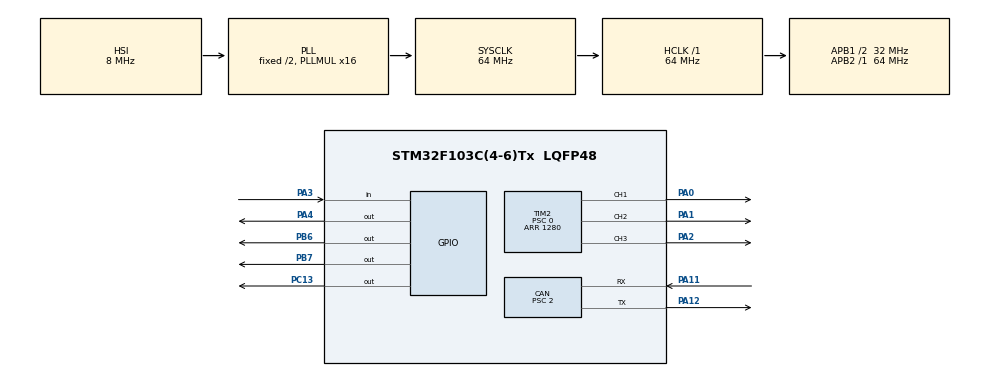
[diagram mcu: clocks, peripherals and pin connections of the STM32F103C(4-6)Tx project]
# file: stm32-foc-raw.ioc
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CAN.ABOM=ENABLE
CAN.AWUM=DISABLE
CAN.BS1=CAN_BS1_11TQ
CAN.BS2=CAN_BS2_4TQ
CAN.CalculateBaudRate=1000000
CAN.CalculateTimeQuantum=62.5
CAN.Mode=CAN_MODE_NORMAL
CAN.NART=ENABLE
CAN.Prescaler=2
CAN.RFLM=DISABLE
CAN.SJW=CAN_SJW_1TQ
CAN.TTCM=DISABLE
CAN.TXFP=DISABLE
Mcu.Family=STM32F1
Mcu.Name=STM32F103C(4-6)Tx
Mcu.Package=LQFP48
NVIC.PriorityGroup=NVIC_PRIORITYGROUP_4
NVIC.TIM1_BRK_IRQn=true\:1\:0\:true\:false\:true\:true\:true\:true
NVIC.TIM1_CC_IRQn=true\:1\:0\:true\:false\:true\:true\:true\:true
NVIC.TIM1_TRG_COM_IRQn=true\:1\:0\:true\:false\:true\:true\:true\:true
NVIC.TIM1_UP_IRQn=true\:1\:0\:true\:false\:true\:true\:true\:true
NVIC.TIM3_IRQn=true\:1\:0\:true\:false\:true\:true\:true\:true
NVIC.USB_LP_CAN1_RX0_IRQn=true\:1\:0\:true\:false\:true\:true\:true\:true
PA0-WKUP.Signal=S_TIM2_CH1_ETR
PA1.Signal=S_TIM2_CH2
PA11.Mode=CAN_Activate
PA11.Signal=CAN_RX
PA12.Mode=CAN_Activate
PA12.Signal=CAN_TX
PA13.Mode=Serial_Wire
PA13.Signal=SYS_JTMS-SWDIO
PA14.Mode=Serial_Wire
PA14.Signal=SYS_JTCK-SWCLK
PA2.Signal=S_TIM2_CH3
PA3.GPIO_PuPd=GPIO_PULLUP
PA3.Signal=GPIO_Input
PA4.Signal=GPIO_Output
PB6.GPIO_PuPd=GPIO_PULLUP
PB6.GPIO_Speed=GPIO_SPEED_FREQ_HIGH
PB6.PinState=GPIO_PIN_SET
PB6.Signal=GPIO_Output
PB7.GPIO_ModeDefaultOutputPP=GPIO_MODE_OUTPUT_OD
PB7.GPIO_PuPd=GPIO_PULLUP
PB7.GPIO_Speed=GPIO_SPEED_FREQ_HIGH
PB7.PinState=GPIO_PIN_SET
PB7.Signal=GPIO_Output
PC13-TAMPER-RTC.Signal=GPIO_Output
ProjectManager.HeapSize=0x200
ProjectManager.StackSize=0x400
ProjectManager.TargetToolchain=STM32CubeIDE
RCC.AHBFreq_Value=64000000
RCC.APB1CLKDivider=RCC_HCLK_DIV2
RCC.APB1Freq_Value=32000000
RCC.APB1TimFreq_Value=64000000
RCC.APB2Freq_Value=64000000
RCC.APB2TimFreq_Value=64000000
RCC.FLatency=FLASH_LATENCY_2
RCC.HCLKFreq_Value=64000000
RCC.PLLMUL=RCC_PLL_MUL16
RCC.SYSCLKFreq_VALUE=64000000
RCC.SYSCLKSource=RCC_SYSCLKSOURCE_PLLCLK
RCC.USBFreq_Value=64000000
SH.S_TIM2_CH1_ETR.0=TIM2_CH1,PWM Generation1 CH1
SH.S_TIM2_CH2.0=TIM2_CH2,PWM Generation2 CH2
SH.S_TIM2_CH3.0=TIM2_CH3,PWM Generation3 CH3
TIM1.AutoReloadPreload=TIM_AUTORELOAD_PRELOAD_DISABLE
TIM1.ClockDivision=TIM_CLOCKDIVISION_DIV1
TIM1.CounterMode=TIM_COUNTERMODE_UP
TIM1.Period=0
TIM1.Prescaler=64-1
TIM1.TIM_MasterOutputTrigger=TIM_TRGO_RESET
TIM1.TIM_MasterSlaveMode=TIM_MASTERSLAVEMODE_DISABLE
TIM2.AutoReloadPreload=TIM_AUTORELOAD_PRELOAD_DISABLE
TIM2.Channel-PWM\ Generation1\ CH1=TIM_CHANNEL_1
TIM2.Channel-PWM\ Generation2\ CH2=TIM_CHANNEL_2
TIM2.Channel-PWM\ Generation3\ CH3=TIM_CHANNEL_3
TIM2.ClockDivision=TIM_CLOCKDIVISION_DIV1
TIM2.CounterMode=TIM_COUNTERMODE_CENTERALIGNED1
TIM2.OC1Preload_PWM=ENABLE
TIM2.OC2Preload_PWM=ENABLE
TIM2.OC3Preload_PWM=ENABLE
TIM2.OCFastMode_PWM-PWM\ Generation1\ CH1=TIM_OCFAST_DISABLE
TIM2.OCFastMode_PWM-PWM\ Generation2\ CH2=TIM_OCFAST_DISABLE
TIM2.OCFastMode_PWM-PWM\ Generation3\ CH3=TIM_OCFAST_DISABLE
TIM2.OCMode_PWM-PWM\ Generation1\ CH1=TIM_OCMODE_PWM1
TIM2.OCMode_PWM-PWM\ Generation2\ CH2=TIM_OCMODE_PWM1
TIM2.OCMode_PWM-PWM\ Generation3\ CH3=TIM_OCMODE_PWM1
TIM2.OCPolarity_1=TIM_OCPOLARITY_HIGH
TIM2.OCPolarity_2=TIM_OCPOLARITY_HIGH
TIM2.OCPolarity_3=TIM_OCPOLARITY_HIGH
TIM2.Period=1280
TIM2.Prescaler=0
TIM2.Pulse-PWM\ Generation1\ CH1=0
TIM2.Pulse-PWM\ Generation2\ CH2=0
TIM2.Pulse-PWM\ Generation3\ CH3=0
TIM2.TIM_MasterOutputTrigger=TIM_TRGO_RESET
TIM2.TIM_MasterSlaveMode=TIM_MASTERSLAVEMODE_DISABLE
TIM3.Period=100
TIM3.Prescaler=64-1
VP_TIM1_VS_ClockSourceINT.Mode=Internal
VP_TIM2_VS_ClockSourceINT.Mode=Internal
VP_TIM3_VS_ClockSourceINT.Mode=Internal
board=custom

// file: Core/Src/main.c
/* USER CODE BEGIN Header */
/**
  ******************************************************************************
  * @file           : main.c
  * @brief          : Main program body
  ******************************************************************************
  * @attention
  *
  * <h2><center>&copy; Copyright (c) 2023 STMicroelectronics.
  * All rights reserved.</center></h2>
  *
  * This software component is licensed by ST under BSD 3-Clause license,
  * the "License"; You may not use this file except in compliance with the
  * License. You may obtain a copy of the License at:
  *                        opensource.org/licenses/BSD-3-Clause
  *
  ******************************************************************************
  */
/* USER CODE END Header */

#include "main.h"
#include "can.h"
#include "tim.h"
#include "gpio.h"

/* USER CODE BEGIN Includes */
#include <stdio.h>
#include <string.h>
#include "MagneticSensor.h"
#include "FOCMotor.h"
#include "BLDCMotor.h"
#include "FlashStorage.h"
/* USER CODE END Includes */

/* USER CODE BEGIN PTD */

//用于蜂鸣的音符
enum
{
	//不响
	T_None=0,
	//低八度
  T_L1=3822,
  T_L2=3405,
  T_L3=3034,
  T_L4=2863,
  T_L5=2551,
  T_L6=2272,
  T_L7=2052,
	//中八度
  T_M1=1911,
  T_M2=1703,
  T_M3=1517,
  T_M4=1432,
  T_M5=1276,
  T_M6=1136,
  T_M7=1012,
	//高八度
  T_H1=956,
  T_H2=851,
  T_H3=758,
  T_H4=716,
  T_H5=638,
  T_H6=568,
  T_H7=506
};

//卡尔曼滤波结构体
typedef struct{
	float X_last;
	float X_mid;
	float X_now;
	float P_mid;
	float P_now;
	float P_last;
	float kg;
	float A;
	float Q;
	float R;
	float H;
} Kalman;
/* USER CODE END PTD */

/* USER CODE BEGIN PM */
#define VOLT_SUPPLY 12 //供电母线电压
#define MAX_VOLT 6.9f  //限制供电电压(平均值)，最高为VOLT_SUPPLY/√3; 4010电机:6.9V, 2804电机:4V
/* USER CODE END PM */

/* USER CODE BEGIN PV */
float targetVotage = 0;    //当前目标电压
uint8_t beepPlaying = 0;   //当前是否在蜂鸣状态
uint8_t motorID = 1;       //初始电机ID
uint8_t ledBlink = 1;      //led是否处于正常闪烁模式
float speed = 0;           //传感器作差数据所得转速
float filteredAngle = 0;   //经滤波得到的转子角度
uint32_t lastRecvTime = 0; //上次收到CAN数据帧的时间
Kalman angleFilter; //卡尔曼滤波结构体
/* USER CODE END PV */

void SystemClock_Config(void);

/* USER CODE BEGIN 0 */
int fputc(int ch, FILE *f) { return ch; }

//单片机软件复位
void System_Reset(void)
{
	__set_FAULTMASK(1);
	NVIC_SystemReset();
}

/*************卡尔曼滤波*************/

void Kalman_Init(Kalman* p,float T_Q,float T_R)
{
	p->X_last = (float)0;
	p->P_last = 0;
	p->Q = T_Q;
	p->R = T_R;
	p->A = 1;
	p->H = 1;
	p->X_mid = p->X_last;
}

float Kalman_Filter(Kalman* p,float dat)
{
	if(!p) return 0;
	p->X_mid =p->A*p->X_last;                     //x(k|k-1) = AX(k-1|k-1)+BU(k)
	p->P_mid = p->A*p->P_last+p->Q;               //p(k|k-1) = Ap(k-1|k-1)A'+Q
	p->kg = p->P_mid/(p->P_mid+p->R);             //kg(k) = p(k|k-1)H'/(Hp(k|k-1)'+R)
	p->X_now = p->X_mid+p->kg*(dat-p->X_mid);     //x(k|k) = X(k|k-1)+kg(k)(Z(k)-HX(k|k-1))
	p->P_now = (1-p->kg)*p->P_mid;                //p(k|k) = (I-kg(k)H)P(k|k-1)
	p->P_last = p->P_now;
	p->X_last = p->X_now;
	return p->X_now;
}

/*************CAN通信*************/

//CAN外设初始化
void CAN_Init()
{
	CAN_FilterTypeDef filter;
	filter.FilterActivation = ENABLE;
	filter.FilterMode = CAN_FILTERMODE_IDMASK;
	filter.FilterMode = CAN_FILTERMODE_IDMASK;
	filter.FilterScale = CAN_FILTERSCALE_32BIT;
	filter.FilterIdHigh = 0x0000;
	filter.FilterIdLow = 0x0000;
	filter.FilterMaskIdHigh = 0x0000;
	filter.FilterMaskIdLow = 0x0000;
	filter.FilterBank = 0;
	filter.FilterFIFOAssignment = CAN_RX_FIFO0;
	HAL_CAN_ConfigFilter(&hcan, &filter);
	HAL_CAN_Start(&hcan);
	HAL_CAN_ActivateNotification(&hcan, CAN_IT_RX_FIFO0_MSG_PENDING);
}

//发送一个反馈数据帧
void CAN_SendState(float angle, float speed)
{
	CAN_TxHeaderTypeDef header;
	header.StdId = motorID + 0x100;
	header.IDE = CAN_ID_STD;
	header.RTR = CAN_RTR_DATA;
	header.DLC = 8;

	uint8_t data[8];
	memcpy(data,&(int32_t){angle*1000},4); //角度数据放在前四个字节
	memcpy(&data[4],&(int16_t){speed*10},2); //转速数据放在第5-6字节

	uint32_t mailbox;
	HAL_CAN_AddTxMessage(&hcan, &header, data, &mailbox);
}

//CAN收到数据的中断回调
void HAL_CAN_RxFifo0MsgPendingCallback(CAN_HandleTypeDef *hcan)
{
	CAN_RxHeaderTypeDef header;
	uint8_t rxData[8];

	if(HAL_CAN_GetRxMessage(hcan, CAN_RX_FIFO0, &header, rxData) != HAL_OK)
		return;

	if(header.StdId == 0x100 && motorID <= 4) //ID=1~4接收0x100数据帧
	{
		targetVotage = *(int16_t*)&rxData[(motorID-1)*2] / 1000.0f;
		lastRecvTime = HAL_GetTick();
	}
	else if(header.StdId == 0x200 && motorID > 4) //ID=5~8接收0x200数据帧
	{
		targetVotage = *(int16_t*)&rxData[(motorID-5)*2] / 1000.0f;
		lastRecvTime = HAL_GetTick();
	}
}

/*************FOC*************/

void SimpleFOC_Init()
{
	HAL_TIM_PWM_Start(&htim2,TIM_CHANNEL_1); //开启三个PWM通道输出
	HAL_TIM_PWM_Start(&htim2,TIM_CHANNEL_2);
	HAL_TIM_PWM_Start(&htim2,TIM_CHANNEL_3);

	MagneticSensor_Init(); //初始化磁传感器

	voltage_power_supply=VOLT_SUPPLY; //设定FOC所需参数
	voltage_limit=MAX_VOLT;
	voltage_sensor_align=voltage_limit;
	targetVotage=0;

	Motor_init(); //初始化电机信息
	Motor_initFOC(); //初始化FOC参数

	motorID = Flash_ReadMotorID(); //从Flash读取电机ID
	motorID = motorID ? motorID : 1;
}

/*************蜂鸣*************/

//根据蜂鸣周期配置并触发定时器
void Beep_Play(uint16_t period)
{
	if(period!=0)
	{
		__HAL_TIM_SetAutoreload(&htim1,period/2);
		HAL_TIM_Base_Start_IT(&htim1);
		beepPlaying = 1;
	}
	else
	{
		HAL_TIM_Base_Stop_IT(&htim1);
		beepPlaying = 0;
	}
}

//播放一串音符
void Beep_PlayNotes(uint8_t num, uint16_t notes[][2])
{
	for(uint8_t i=0; i<num; i++)
	{
		Beep_Play(notes[i][0]);
		HAL_Delay(notes[i][1]);
	}
	Beep_Play(0);
}

//蜂鸣中断处理，在定时器中断回调中调用
void Beep_IRQHandler()
{
	static uint8_t flipFlag = 0;
	if(targetVotage == 0)
	{
		setPhaseVoltage(voltage_limit/2, 0, _PI/3 * flipFlag); //使磁场方向在0-PI/3间震荡
		flipFlag = !flipFlag;
	}
}

/*************各个定时任务*************/

//非阻塞按键处理
void Key_Process()
{
	static uint32_t downTime = 0;
	static uint8_t lastKeyState = 0;
	uint8_t keyState = (HAL_GPIO_ReadPin(GPIOA, GPIO_PIN_3) == GPIO_PIN_RESET) ? 1 : 0;
	if(keyState && !lastKeyState) //按下
	{
		downTime = HAL_GetTick();
		ledBlink = 0;
	}
	else if(keyState && lastKeyState) //按住
	{
		uint32_t pressTime = HAL_GetTick() - downTime;
		if(pressTime < 500*8) //闪8下，每次500ms
		{
			if(pressTime%500 < 100)
				HAL_GPIO_WritePin(GPIOC, GPIO_PIN_13, GPIO_PIN_SET);
			else
				HAL_GPIO_WritePin(GPIOC, GPIO_PIN_13, GPIO_PIN_RESET);
		}
		else if(pressTime < 500*12)
			HAL_GPIO_WritePin(GPIOC, GPIO_PIN_13, GPIO_PIN_SET);
		else
			HAL_GPIO_WritePin(GPIOC, GPIO_PIN_13, GPIO_PIN_RESET); //闪8下之后常亮
	}
	else if(!keyState && lastKeyState) //松开
	{
		uint32_t pressTime = HAL_GetTick() - downTime;
		if(pressTime > 50 && pressTime <500*8) //闪8下以内松开，设置ID
		{
			motorID = pressTime/500 + 1;
			Flash_SaveMotorID(motorID);
		}
		else if(pressTime >= 500*8 && pressTime < 500*12) //闪8下后松开，清空Flash后复位重新校准
		{
			Flash_EraseMotorParam();
			System_Reset();
		}
		HAL_GPIO_WritePin(GPIOC, GPIO_PIN_13, GPIO_PIN_RESET);
		ledBlink = 1;
	}
	lastKeyState = keyState;
}

//非阻塞LED定时任务，闪烁次数表示电机ID
void Led_Process()
{
	if(!ledBlink) return;
	uint32_t period = 1000 + (100+200)*motorID;
	uint32_t mod = HAL_GetTick() % period;
	if(mod < (100+200)*motorID && mod%(100+200) < 100)
		HAL_GPIO_WritePin(GPIOC, GPIO_PIN_13, GPIO_PIN_SET);
	else
		HAL_GPIO_WritePin(GPIOC, GPIO_PIN_13, GPIO_PIN_RESET);
}

//电机转速计算
void Motor_SpeedCalcProcess()
{
        static const uint8_t speedLpfLen = 5;
	static float speedLpfBuf[5] = {0}; //存放5个filteredAngle

	float angle = filteredAngle;
	float curSpeed = (angle-speedLpfBuf[0])*1000/speedLpfLen/_2PI*60;
	speed = curSpeed;

	for(uint8_t i=0; i<speedLpfLen-1; i++)
		speedLpfBuf[i] = speedLpfBuf[i+1];
	speedLpfBuf[speedLpfLen-1] = angle;
}

//CAN离线检测，500ms没收到CAN信号则停机
void Motor_OfflineCheckProcess()
{
	static uint8_t isOffline = 0;
	if(HAL_GetTick() - lastRecvTime > 500)
	{
		if(!isOffline)
		{
			targetVotage = 0;
			isOffline = 1;
		}
	}
	else
		isOffline = 0;
}

//在滴答定时器中调用，1ms周期，处理各定时任务
void SysTick_UserExec()
{
	Key_Process();
	Led_Process();
	Motor_SpeedCalcProcess();
	Motor_OfflineCheckProcess();
	if(HAL_GetTick()%2)
		CAN_SendState(shaft_angle, speed);
	filteredAngle = Kalman_Filter(&angleFilter, shaft_angle);
}
/* USER CODE END 0 */

int main(void)
{

  /* MCU Configuration--------------------------------------------------------*/

  /* Reset of all peripherals, Initializes the Flash interface and the Systick. */
  HAL_Init();

  /* Configure the system clock */
  SystemClock_Config();

  /* Initialize all configured peripherals */
  MX_GPIO_Init();
  MX_CAN_Init();
  MX_TIM2_Init();
  MX_TIM1_Init();
  MX_TIM3_Init();
  /* USER CODE BEGIN 2 */

	CAN_Init(); //CAN外设初始化
	SimpleFOC_Init(); //FOC初始化
	Beep_PlayNotes(3,(uint16_t[][2]){{T_H1,200},{T_H3,200},{T_H5,500}}); //播放开机音效

	Kalman_Init(&angleFilter, 0.0005f, 0.1f); //设定卡尔曼滤波系数

  /* USER CODE END 2 */

  /* Infinite loop */
  /* USER CODE BEGIN WHILE */
  while (1)
  {
		setTargetVotage(targetVotage); //设定FOC电压
		loopFOC(); //运行FOC算法
    /* USER CODE END WHILE */

  }
}

void SystemClock_Config(void)
{
  RCC_OscInitTypeDef RCC_OscInitStruct = {0};
  RCC_ClkInitTypeDef RCC_ClkInitStruct = {0};

  /** Initializes the CPU, AHB and APB busses clocks
  */
  RCC_OscInitStruct.OscillatorType = RCC_OSCILLATORTYPE_HSI;
  RCC_OscInitStruct.HSIState = RCC_HSI_ON;
  RCC_OscInitStruct.HSICalibrationValue = RCC_HSICALIBRATION_DEFAULT;
  RCC_OscInitStruct.PLL.PLLState = RCC_PLL_ON;
  RCC_OscInitStruct.PLL.PLLSource = RCC_PLLSOURCE_HSI_DIV2;
  RCC_OscInitStruct.PLL.PLLMUL = RCC_PLL_MUL16;
  if (HAL_RCC_OscConfig(&RCC_OscInitStruct) != HAL_OK)
  {
    Error_Handler();
  }
  /** Initializes the CPU, AHB and APB busses clocks
  */
  RCC_ClkInitStruct.ClockType = RCC_CLOCKTYPE_HCLK|RCC_CLOCKTYPE_SYSCLK
                              |RCC_CLOCKTYPE_PCLK1|RCC_CLOCKTYPE_PCLK2;
  RCC_ClkInitStruct.SYSCLKSource = RCC_SYSCLKSOURCE_PLLCLK;
  RCC_ClkInitStruct.AHBCLKDivider = RCC_SYSCLK_DIV1;
  RCC_ClkInitStruct.APB1CLKDivider = RCC_HCLK_DIV2;
  RCC_ClkInitStruct.APB2CLKDivider = RCC_HCLK_DIV1;

  if (HAL_RCC_ClockConfig(&RCC_ClkInitStruct, FLASH_LATENCY_2) != HAL_OK)
  {
    Error_Handler();
  }
}

void Error_Handler(void)
{
}

/************************ (C) COPYRIGHT STMicroelectronics *****END OF FILE****/
